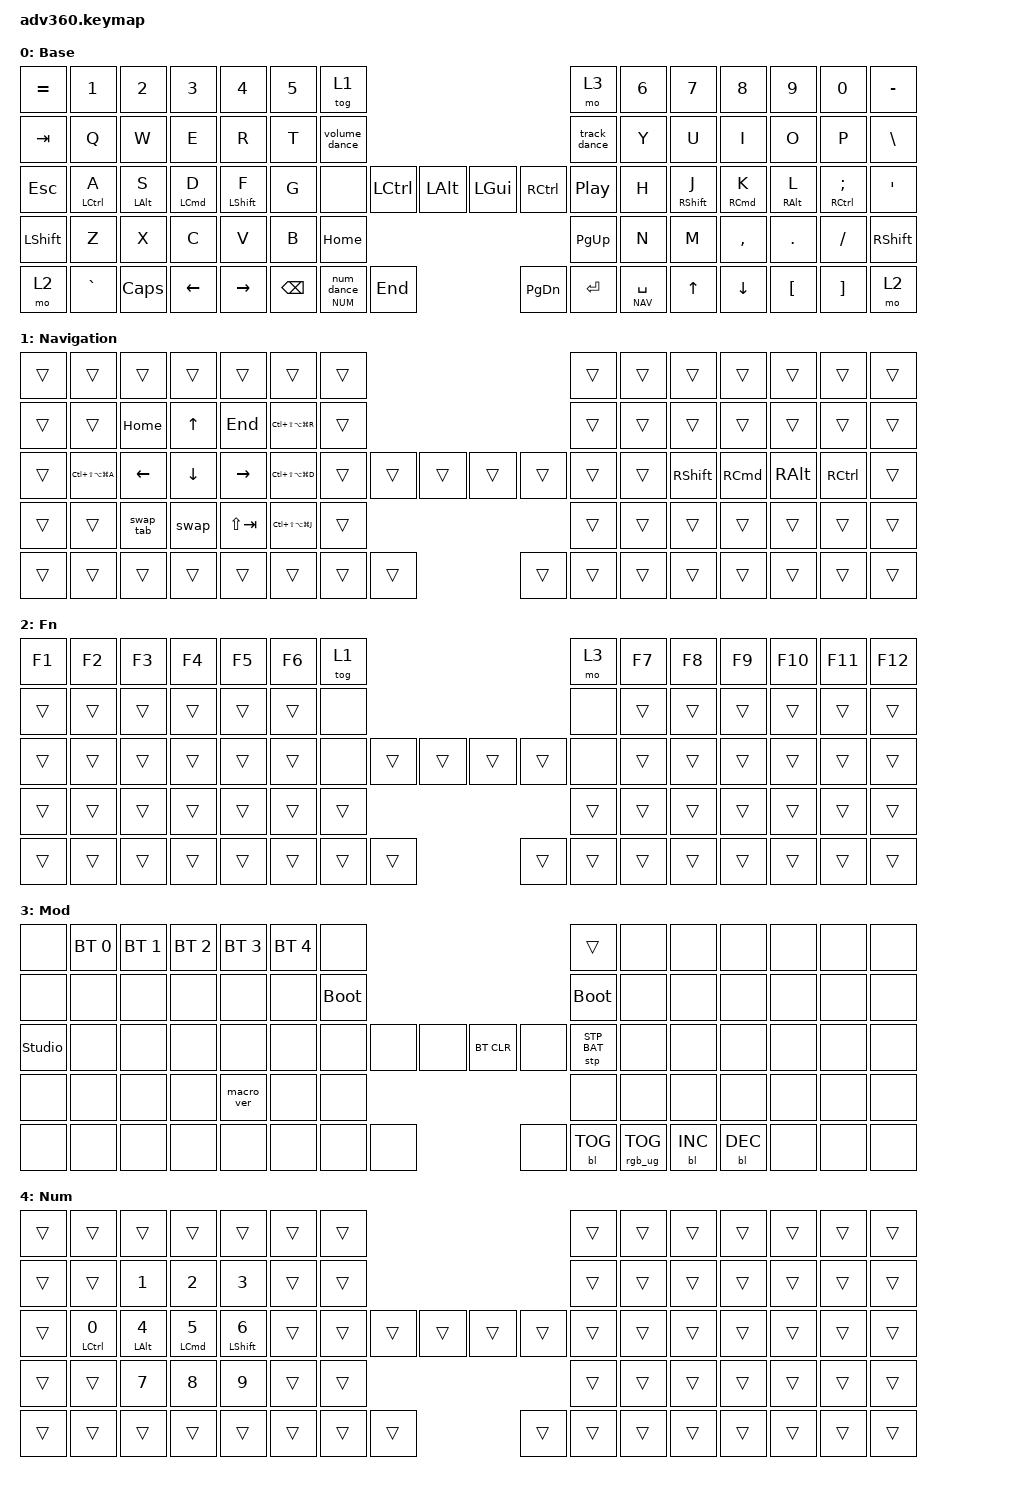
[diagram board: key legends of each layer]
#include <dt-bindings/zmk/stp.h>
#include <behaviors.dtsi>
#include <behaviors/num_word.dtsi>
#include <dt-bindings/zmk/backlight.h>
#include <dt-bindings/zmk/bt.h>
#include <dt-bindings/zmk/keys.h>
#include <dt-bindings/zmk/rgb.h>

#define QUICK_TAP_MS 175

#define DEFAULT 0
#define NAV 1
#define FN 2
#define MOD 3
#define NUM 4

#define GO_TO_DEF &kp LC(LS(LA(LG(D))))
#define RENAME_SYMBOL &kp LC(LS(LA(LG(R))))
#define SELECT_HTML &kp LC(LS(LA(LG(J))))
#define R_UNU_IMPORTS &kp LC(LS(LA(LG(A))))


/ {
    behaviors {
        #include "macros.dtsi"
        #include "version.dtsi"

        #define SMART_NUM &smart_num NUM 0
  
        num_word: num_word {
            #binding-cells = <0>;
            compatible = "zmk,behavior-num-word";
            continue-list = <BSPC DEL DOT COMMA PLUS MINUS STAR FSLH EQUAL>;
            layers = <NUM>;
            ignore-numbers;
        };

        smart_num: smart_num {
            compatible = "zmk,behavior-hold-tap";
            #binding-cells = <2>;
            flavor = "balanced";
            tapping-term-ms = <200>;
            quick-tap-ms = <QUICK_TAP_MS>;
            bindings = <&mo>, <&num_dance>;
        };


        num_dance: num_dance {
            compatible = "zmk,behavior-tap-dance";
            #binding-cells = <0>;
            tapping-term-ms = <200>;
            bindings = <&num_word>, <&sl NUM>;
        };

        hml: homerow_mods_left {
            compatible = "zmk,behavior-hold-tap";
            flavor = "balanced";
            #binding-cells = <2>;
            bindings = <&kp>, <&kp>;
            tapping-term-ms = <280>;
            quick-tap-ms = <170>;
            require-prior-idle-ms = <125>;
            hold-trigger-on-release;
            hold-trigger-key-positions = <36 37 52 53 65 66 67 68 69 70 7 8 9 10 11 12 13 21 22 23 24 25 26 27 37 38 39 40 41 42 43 44 45 53 54 55 56 57 58 59 69 70 71 72 73 74 75 35>;
        };

        hmr: homerow_mods_right {
            compatible = "zmk,behavior-hold-tap";
            flavor = "balanced";
            #binding-cells = <2>;
            bindings = <&kp>, <&kp>;
            tapping-term-ms = <280>;
            quick-tap-ms = <170>;
            require-prior-idle-ms = <125>;
            hold-trigger-on-release;
            hold-trigger-key-positions = <36 37 52 53 65 66 67 68 69 70 37 38 53 69 70 35 0 1 2 3 4 5 6 14 15 16 17 18 19 20 28 29 30 31 32 33 34 46 47 48 49 50 51 62 63 64 61>;
        };

        lt: layer_tap {
            compatible = "zmk,behavior-hold-tap";
            #binding-cells = <2>;
            flavor = "tap-preferred";
            tapping-term-ms = <130>;
            bindings = <&mo>, <&kp>;
            display-name = "Layer-Tap";
        };

        swap: swapper {
            compatible = "zmk,behavior-tri-state";
            #binding-cells = <0>;
            bindings = <&kt LGUI>, <&kp TAB>, <&kt LGUI>;
            ignored-key-positions = <49 50>;
        };

        swap_tab: swap_tab {
            compatible = "zmk,behavior-tri-state";
            #binding-cells = <0>;
            bindings = <&kt LCTRL>, <&kp TAB>, <&kt LCTRL>;
            ignored-key-positions = <48 50>;
        };

        ide_shortcut: ide_shortcut {
            compatible = "zmk,behavior-hold-tap";
            #binding-cells = <2>;
            flavor = "tap-preferred";
            tapping-term-ms = <150>;
            bindings = <&kp>, <&kp>;
        };

        volume_dance: volume_dance {
            compatible = "zmk,behavior-tap-dance";
            #binding-cells = <0>;
            tapping-term-ms = <200>;
            bindings = <&kp C_VOL_UP>, <&kp C_VOL_DN>, <&kp C_MUTE>;
        };

        track_dance: track_dance {
            compatible = "zmk,behavior-tap-dance";
            #binding-cells = <0>;
            tapping-term-ms = <200>;
            bindings = <&kp C_NEXT>, <&kp C_PREV>;
        };
    };

    combos {
        compatible = "zmk,combos";
        #include "combos.dtsi"
    };

   
    keymap {
             /* INITIAL LAYOUT */
             /* ┌─────────────┬─────────────┬─────────────┬─────────────┬─────────────┬─────────────┬─────────────┐                                                                  ┌─────────────┬─────────────┬─────────────┬─────────────┬─────────────┬─────────────┬─────────────┐   */
             /*  &trans        &trans        &trans        &trans        &trans        &trans        &trans                                                                           &trans        &trans        &trans        &trans        &trans        &trans        &trans           */
             /* ├─────────────┼─────────────┼─────────────┼─────────────┼─────────────┼─────────────┼─────────────┤                                                                  ├─────────────┼─────────────┼─────────────┼─────────────┼─────────────┼─────────────┼─────────────┤   */
             /*  &trans        &trans        &trans        &trans        &trans        &trans        &trans                                                                           &trans        &trans        &trans        &trans        &trans        &trans        &trans           */                  
             /* ├─────────────┼─────────────┼─────────────┼─────────────┼─────────────┼─────────────┼─────────────┤ ┌─────────────┬─────────────┐      ┌─────────────┬─────────────┐ ├─────────────┼─────────────┼─────────────┼─────────────┼─────────────┼─────────────┼─────────────┤   */
             /*  &trans        &trans        &trans        &trans        &trans        &trans        &trans          &trans        &trans               &trans        &trans          &trans        &trans       &trans         &trans        &trans        &trans        &trans           */
             /* ├─────────────┼─────────────┼─────────────┼─────────────┼─────────────┼─────────────┤ ┌─────────────┼─────────────┼─────────────┤      ├─────────────┼─────────────┼─────────────┐ ├─────────────┼─────────────┼─────────────┼─────────────┼─────────────┤─────────────┤   */
             /*  &trans        &trans        &trans        &trans        &trans        &trans                                      &trans               &trans                                      &trans        &trans        &trans        &trans        &trans        &trans           */  
             /* ├─────────────┼─────────────┼─────────────┼─────────────┼─────────────┼─────────────┘ ├             ┼             ┼─────────────┤      ├─────────────┼             ┼             ┤ └─────────────┼─────────────┼─────────────┼─────────────┼─────────────┼─────────────┤   */
             /*  &trans        &trans        &trans        &trans        &trans                        &trans        &trans        &trans               &trans        &trans          &trans                      &trans        &trans        &trans        &trans        &trans           */
             /* └─────────────┴─────────────┴─────────────┴─────────────┴─────────────┘               └─────────────┴─────────────┴─────────────┘      └─────────────┴─────────────┴─────────────┘               └─────────────┴─────────────┴─────────────┴─────────────┴─────────────┘   */
        compatible = "zmk,keymap";

        default_layer {
            display-name = "Base";
            bindings = <
             /* ┌─────────────┬─────────────┬─────────────┬─────────────┬─────────────┬─────────────┬─────────────┐                                                                  ┌─────────────┬─────────────┬─────────────┬─────────────┬─────────────┬─────────────┬─────────────┐                              */
                 &kp EQUAL     &kp N1        &kp N2        &kp N3        &kp N4        &kp N5        &tog 1                                                                           &mo 3         &kp N6        &kp N7        &kp N8        &kp N9        &kp N0        &kp MINUS
             /* ├─────────────┼─────────────┼─────────────┼─────────────┼─────────────┼─────────────┼─────────────┤                                                                  ├─────────────┼─────────────┼─────────────┼─────────────┼─────────────┼─────────────┼─────────────┤                              */
                 &kp TAB       &kp Q         &kp W         &kp E         &kp R         &kp T         &volume_dance                                                                    &track_dance  &kp Y         &kp U         &kp I         &kp O         &kp P         &kp BSLH
             /* ├─────────────┼─────────────┼─────────────┼─────────────┼─────────────┼─────────────┼─────────────┤ ┌─────────────┬─────────────┐      ┌─────────────┬─────────────┐ ├─────────────┼─────────────┼─────────────┼─────────────┼─────────────┼─────────────┼─────────────┤                              */
                 &kp ESC       &hml LCTRL A  &hml LALT S   &hml LCMD D    &hml LSHFT F &kp G         &none             &kp LCTRL     &kp LALT             &kp LGUI      &kp RCTRL     &kp C_PP      &kp H         &hmr RSHFT J  &hmr RCMD K   &hmr RALT L   &hmr RCTRL SEMI   &kp SQT
             /* ├─────────────┼─────────────┼─────────────┼─────────────┼─────────────┼─────────────┤ ┌─────────────┼─────────────┼─────────────┤      ├─────────────┼─────────────┼─────────────┐ ├─────────────┼─────────────┼─────────────┼─────────────┼─────────────┤─────────────┤                              */
                 &kp LSHFT     &kp Z         &kp X         &kp C         &kp V         &kp B                                       &kp HOME             &kp PG_UP                                   &kp N         &kp M         &kp COMMA     &kp DOT       &kp FSLH      &kp RSHFT
             /* ├─────────────┼─────────────┼─────────────┼─────────────┼─────────────┼─────────────┘ ├             ┼             ┼─────────────┤      ├─────────────┼             ┼             ┤ └─────────────┼─────────────┼─────────────┼─────────────┼─────────────┼─────────────┤                              */
                 &mo 2         &kp GRAVE     &kp CAPS      &kp LEFT      &kp RIGHT                     &kp BSPC      SMART_NUM     &kp END              &kp PG_DN      &kp ENTER     &lt NAV SPACE                &kp UP        &kp DOWN      &kp LBKT      &kp RBKT      &mo 2
             /* └─────────────┴─────────────┴─────────────┴─────────────┴─────────────┘               └─────────────┴─────────────┴─────────────┘      └─────────────┴─────────────┴─────────────┘               └─────────────┴─────────────┴─────────────┴─────────────┴─────────────┘                              */
            >;
        };
 
        nav {
            display-name = "Navigation";
            bindings = <
             /* ┌─────────────┬─────────────┬─────────────┬─────────────┬─────────────┬─────────────┬─────────────┐                                                                  ┌─────────────┬─────────────┬─────────────┬─────────────┬─────────────┬─────────────┬─────────────┐   */
                 &trans        &trans        &trans        &trans        &trans        &trans        &trans                                                                           &trans        &trans        &trans        &trans        &trans        &trans        &trans           
             /* ├─────────────┼─────────────┼─────────────┼─────────────┼─────────────┼─────────────┼─────────────┤                                                                  ├─────────────┼─────────────┼─────────────┼─────────────┼─────────────┼─────────────┼─────────────┤   */
                 &trans        &trans        &kp HOME      &kp UP        &kp END       RENAME_SYMBOL  &trans                                                                           &trans        &trans        &trans        &trans        &trans        &trans        &trans                             
             /* ├─────────────┼─────────────┼─────────────┼─────────────┼─────────────┼─────────────┼─────────────┤ ┌─────────────┬─────────────┐      ┌─────────────┬─────────────┐ ├─────────────┼─────────────┼─────────────┼─────────────┼─────────────┼─────────────┼─────────────┤   */
                 &trans       R_UNU_IMPORTS  &kp LEFT      &kp DOWN      &kp RIGHT     GO_TO_DEF        &trans          &trans        &trans               &trans        &trans          &trans        &trans        &kp RSHFT     &kp RCMD      &kp RALT      &kp RCTRL     &trans           
             /* ├─────────────┼─────────────┼─────────────┼─────────────┼─────────────┼─────────────┤ ┌─────────────┼─────────────┼─────────────┤      ├─────────────┼─────────────┼─────────────┐ ├─────────────┼─────────────┼─────────────┼─────────────┼─────────────┤─────────────┤   */
                 &trans        &trans        &swap_tab     &swap        &kp LS(TAB)    SELECT_HTML                                 &trans               &trans                                      &trans        &trans        &trans        &trans        &trans        &trans           
             /* ├─────────────┼─────────────┼─────────────┼─────────────┼─────────────┼─────────────┘ ├             ┼             ┼─────────────┤      ├─────────────┼             ┼             ┤ └─────────────┼─────────────┼─────────────┼─────────────┼─────────────┼─────────────┤   */
                 &trans        &trans        &trans        &trans        &trans                        &trans        &trans        &trans               &trans        &trans          &trans                      &trans        &trans        &trans        &trans        &trans           
             /* └─────────────┴─────────────┴─────────────┴─────────────┴─────────────┘               └─────────────┴─────────────┴─────────────┘      └─────────────┴─────────────┴─────────────┘               └─────────────┴─────────────┴─────────────┴─────────────┴─────────────┘   */
            >;
        };

        fn {
            display-name = "Fn";
            bindings = <
&kp F1  &kp F2  &kp F3  &kp F4  &kp F5  &kp F6  &tog 1                                      &mo 3   &kp F7  &kp F8  &kp F9  &kp F10  &kp F11  &kp F12
&trans  &trans  &trans  &trans  &trans  &trans  &none                                       &none   &trans  &trans  &trans  &trans   &trans   &trans
&trans  &trans  &trans  &trans  &trans  &trans  &none   &trans  &trans      &trans  &trans  &none   &trans  &trans  &trans  &trans   &trans   &trans
&trans  &trans  &trans  &trans  &trans  &trans                  &trans      &trans                  &trans  &trans  &trans  &trans   &trans   &trans
&trans  &trans  &trans  &trans  &trans          &trans  &trans  &trans      &trans  &trans  &trans          &trans  &trans  &trans   &trans   &trans
            >; 
        };

        mod {
            display-name = "Mod";
            bindings = <
&none           &bt BT_SEL 0  &bt BT_SEL 1  &bt BT_SEL 2  &bt BT_SEL 3  &bt BT_SEL 4  &none                                                  &trans           &none  &none       &none       &none  &none  &none
&none           &none         &none         &none         &none         &none         &bootloader                                            &bootloader      &none  &none       &none       &none  &none  &none
&studio_unlock  &none         &none         &none         &none         &none         &none        &none  &none      &bt BT_CLR  &none       &stp STP_BAT     &none  &none       &none       &none  &none  &none
&none           &none         &none         &none         &macro_ver    &none                             &none      &none                                    &none  &none       &none       &none  &none  &none
&none           &none         &none         &none         &none                       &none        &none  &none      &none       &bl BL_TOG  &rgb_ug RGB_TOG         &bl BL_INC  &bl BL_DEC  &none  &none  &none
            >;
        };

        num {
            display-name = "Num";
            bindings = <
             /* ┌─────────────┬─────────────┬─────────────┬─────────────┬─────────────┬─────────────┬─────────────┐                                                                  ┌─────────────┬─────────────┬─────────────┬─────────────┬─────────────┬─────────────┬─────────────┐   */
                 &trans        &trans        &trans        &trans        &trans        &trans        &trans                                                                           &trans        &trans        &trans        &trans        &trans        &trans        &trans           
             /* ├─────────────┼─────────────┼─────────────┼─────────────┼─────────────┼─────────────┼─────────────┤                                                                  ├─────────────┼─────────────┼─────────────┼─────────────┼─────────────┼─────────────┼─────────────┤   */
                 &trans        &trans        &kp N1        &kp N2        &kp N3        &trans        &trans                                                                           &trans        &trans        &trans        &trans        &trans        &trans        &trans           
             /* ├─────────────┼─────────────┼─────────────┼─────────────┼─────────────┼─────────────┼─────────────┤ ┌─────────────┬─────────────┐      ┌─────────────┬─────────────┐ ├─────────────┼─────────────┼─────────────┼─────────────┼─────────────┼─────────────┼─────────────┤   */
                 &trans        &hml LCTRL N0  &hml LALT N4   &hml LCMD N5  &hml LSHFT N6  &trans     &trans          &trans        &trans               &trans        &trans          &trans        &trans        &trans        &trans        &trans        &trans        &trans          
             /* ├─────────────┼─────────────┼─────────────┼─────────────┼─────────────┼─────────────┤ ┌─────────────┼─────────────┼─────────────┤      ├─────────────┼─────────────┼─────────────┐ ├─────────────┼─────────────┼─────────────┼─────────────┼─────────────┤─────────────┤   */
                 &trans        &trans        &kp N7        &kp N8        &kp N9        &trans                                      &trans               &trans                                      &trans        &trans        &trans        &trans        &trans        &trans           
             /* ├─────────────┼─────────────┼─────────────┼─────────────┼─────────────┼─────────────┘ ├             ┼             ┼─────────────┤      ├─────────────┼             ┼             ┤ └─────────────┼─────────────┼─────────────┼─────────────┼─────────────┼─────────────┤   */
                 &trans        &trans        &trans        &trans        &trans                        &trans        &trans        &trans               &trans        &trans          &trans                      &trans        &trans        &trans        &trans        &trans          
             /* └─────────────┴─────────────┴─────────────┴─────────────┴─────────────┘               └─────────────┴─────────────┴─────────────┘      └─────────────┴─────────────┴─────────────┘               └─────────────┴─────────────┴─────────────┴─────────────┴─────────────┘   */
            >;
        };

        extra1 {
            display-name = "Red";
            status = "reserved";
        };

        extra2 {
            display-name = "Purple";
            status = "reserved";
        };

        extra3 {
            display-name = "Cyan";
            status = "reserved";
        };

        extra4 {
            display-name = "Yellow";
            status = "reserved";
        };
    };
};
